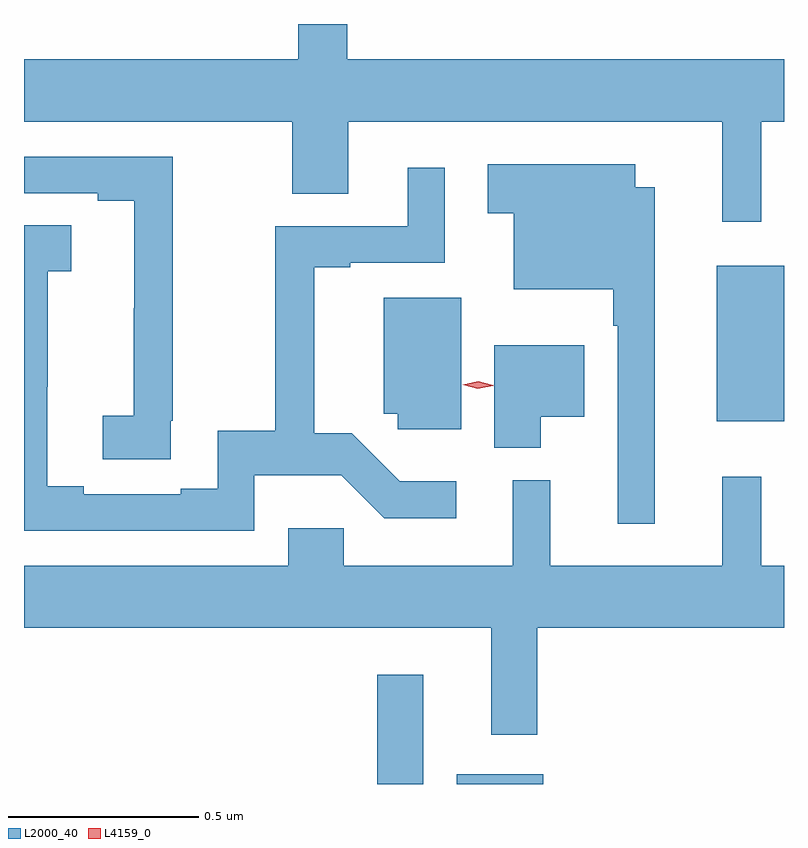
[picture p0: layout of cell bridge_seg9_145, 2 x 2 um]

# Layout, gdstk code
import gdstk
lib = gdstk.Library(unit=1e-6, precision=1e-09)
def R(c, l, rs):  # rectangles x0, y0, x1, y1
    for r in rs: c.add(gdstk.rectangle(r[:2], r[2:], *l))
def P(c, l, *ps):  # polygons
    for p in ps: c.add(gdstk.Polygon(p, *l))
L2000_40 = (2000, 40)
L4159_0 = (4159, 0)

bridge_seg9_145 = lib.new_cell('bridge_seg9_145')
R(bridge_seg9_145, L2000_40, [(583.296,1226.645,583.417,1226.932), (583.505,1226.645,583.732,1226.671), (584.189,1227.599,584.366,1228.009)])
P(bridge_seg9_145, L2000_40, [(584.306,1228.388),(584.366,1228.388),(584.366,1228.552),(583.217,1228.552),(583.217,1228.645),(583.088,1228.645),(583.088,1228.552),(582.366,1228.552),(582.366,1228.388),(583.072,1228.388),(583.072,1228.198),(583.219,1228.198),(583.219,1228.388),(584.203,1228.388),(584.203,1228.125),(584.306,1228.125)],
  [(582.752,1227.601),(582.758,1227.601),(582.758,1228.296),(582.366,1228.296),(582.366,1228.2),(582.56,1228.2),(582.56,1228.18),(582.656,1228.18),(582.656,1227.897),(582.655,1227.897),(582.655,1227.614),(582.573,1227.614),(582.573,1227.499),(582.752,1227.499)],
  [(584.026,1228.216),(583.975,1228.216),(583.975,1228.276),(583.587,1228.276),(583.587,1228.147),(583.655,1228.147),(583.655,1227.947),(583.917,1227.947),(583.917,1227.851),(583.929,1227.851),(583.929,1227.33),(584.026,1227.33)],
  [(582.972,1227.458),(583.201,1227.458),(583.314,1227.345),(583.504,1227.345),(583.504,1227.442),(583.355,1227.442),(583.229,1227.568),(583.13,1227.568),(583.13,1228.005),(583.225,1228.005),(583.225,1228.017),(583.473,1228.017),(583.473,1228.267),(583.376,1228.267),(583.376,1228.113),(583.027,1228.113),(583.027,1227.575),(582.876,1227.575),(582.876,1227.422),(582.779,1227.422),(582.779,1227.408),(582.523,1227.408),(582.523,1227.428),(582.427,1227.428),(582.427,1227.691),(582.429,1227.691),(582.429,1227.995),(582.49,1227.995),(582.49,1228.115),(582.366,1228.115),(582.366,1227.312),(582.972,1227.312)],
  [(583.516,1227.925),(583.313,1227.925),(583.313,1227.62),(583.35,1227.62),(583.35,1227.578),(583.516,1227.578)],
  [(583.726,1227.611),(583.84,1227.611),(583.84,1227.799),(583.604,1227.799),(583.604,1227.53),(583.726,1227.53)],
  [(583.717,1227.056),(584.366,1227.056),(584.366,1227.22),(584.306,1227.22),(584.306,1227.454),(584.204,1227.454),(584.204,1227.22),(583.751,1227.22),(583.751,1227.445),(583.652,1227.445),(583.652,1227.22),(583.208,1227.22),(583.208,1227.318),(583.061,1227.318),(583.061,1227.22),(582.366,1227.22),(582.366,1227.056),(583.595,1227.056),(583.595,1226.775),(583.717,1226.775)])
P(bridge_seg9_145, L4159_0, [(583.56,1227.685),(583.52,1227.696),(583.52,1227.696),(583.52,1227.696),(583.561,1227.705),(583.601,1227.694),(583.601,1227.693),(583.601,1227.693)])

lib.write_gds('bridge_seg9_145.gds')
